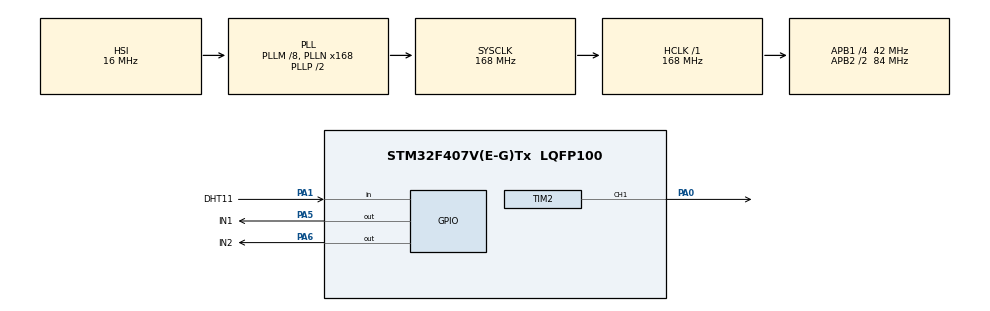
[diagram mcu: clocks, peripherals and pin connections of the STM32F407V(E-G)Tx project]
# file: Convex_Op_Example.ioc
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Mcu.Family=STM32F4
Mcu.Name=STM32F407V(E-G)Tx
Mcu.Package=LQFP100
NVIC.PriorityGroup=NVIC_PRIORITYGROUP_4
PA0-WKUP.Signal=S_TIM2_CH1_ETR
PA1.GPIO_Label=DHT11
PA1.Signal=GPIO_Input
PA5.GPIO_Label=IN1
PA5.Signal=GPIO_Output
PA6.GPIO_Label=IN2
PA6.Signal=GPIO_Output
PH0-OSC_IN.Mode=HSE-External-Oscillator
PH0-OSC_IN.Signal=RCC_OSC_IN
PH1-OSC_OUT.Mode=HSE-External-Oscillator
PH1-OSC_OUT.Signal=RCC_OSC_OUT
ProjectManager.HeapSize=0x200
ProjectManager.StackSize=0x400
ProjectManager.TargetToolchain=STM32CubeIDE
RCC.48MHZClocksFreq_Value=84000000
RCC.AHBFreq_Value=168000000
RCC.APB1CLKDivider=RCC_HCLK_DIV4
RCC.APB1Freq_Value=42000000
RCC.APB1TimFreq_Value=84000000
RCC.APB2CLKDivider=RCC_HCLK_DIV2
RCC.APB2Freq_Value=84000000
RCC.APB2TimFreq_Value=168000000
RCC.CortexFreq_Value=168000000
RCC.HCLKFreq_Value=168000000
RCC.HSE_VALUE=25000000
RCC.HSI_VALUE=16000000
RCC.LSE_VALUE=32768
RCC.PLLM=8
RCC.PLLN=168
RCC.SYSCLKFreq_VALUE=168000000
RCC.SYSCLKSource=RCC_SYSCLKSOURCE_PLLCLK
RCC.VCOOutputFreq_Value=336000000
SH.S_TIM2_CH1_ETR.0=TIM2_CH1,PWM Generation1 CH1
TIM2.AutoReloadPreload=TIM_AUTORELOAD_PRELOAD_ENABLE
TIM2.Channel-PWM\ Generation1\ CH1=TIM_CHANNEL_1
TIM2.Period=100
TIM2.Prescaler=165
TIM6.Prescaler=83
VP_TIM2_VS_ClockSourceINT.Mode=Internal
VP_TIM6_VS_ClockSourceINT.Mode=Enable_Timer
board=custom

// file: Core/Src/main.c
/* USER CODE BEGIN Header */
/**
 ******************************************************************************
 * @file           : main.c
 * @brief          : Main program body
 ******************************************************************************
 * @attention
 *
 * Copyright (c) 2025 STMicroelectronics.
 * All rights reserved.
 *
 * This software is licensed under terms that can be found in the LICENSE file
 * in the root directory of this software component.
 * If no LICENSE file comes with this software, it is provided AS-IS.
 *
 ******************************************************************************
 */
/* USER CODE END Header */
#include "main.h"

/* USER CODE BEGIN Includes */
#include "dht11.h"
#include "motor_driver.h"
#include "cpg_workspace.h"
#include "cpg_solve.h"
/* USER CODE END Includes */

/* USER CODE BEGIN PTD */
typedef struct {

	uint32_t Speed;
	uint16_t Temp;
	uint8_t  Motor_Status;

} info_t;
/* USER CODE END PTD */

/* USER CODE BEGIN PD */
#define K_GAIN_VALUE        -0.5f
#define LAMBDA_COST_VALUE   0.1f
#define TARGET_TEMP         20.0f
#define U_MAX_POWER         10.0f
/* USER CODE END PD */

/* USER CODE BEGIN PM */
#define MOTOR_OFF 			0
#define MOTOR_ON 			1
/* USER CODE END PM */

TIM_HandleTypeDef htim2;
TIM_HandleTypeDef htim6;

/* USER CODE BEGIN PV */

DHT11_t DHT11;
info_t info;

/* USER CODE END PV */

void SystemClock_Config(void);
static void MX_GPIO_Init(void);
static void MX_TIM6_Init(void);
static void MX_TIM2_Init(void);
/* USER CODE BEGIN PFP */
void Run_Optimal_Cooling_Controller();
/* USER CODE END PFP */

int main(void) {

	/* MCU Configuration--------------------------------------------------------*/

	/* Reset of all peripherals, Initializes the Flash interface and the Systick. */
	HAL_Init();

	/* Configure the system clock */
	SystemClock_Config();

	/* Initialize all configured peripherals */
	MX_GPIO_Init();
	MX_TIM6_Init();
	MX_TIM2_Init();
	/* USER CODE BEGIN 2 */
	HAL_TIM_Base_Start(&htim6);
	cpg_update_lambda_cost(LAMBDA_COST_VALUE);
	cpg_update_k_gain(K_GAIN_VALUE);
	cpg_update_x_ref(TARGET_TEMP);
	/* USER CODE END 2 */

	/* Infinite loop */
	/* USER CODE BEGIN WHILE */
	while (1) {

	  Run_Optimal_Cooling_Controller();
	  HAL_Delay(5000);

		/* USER CODE END WHILE */

	}
}

void SystemClock_Config(void) {
	RCC_OscInitTypeDef RCC_OscInitStruct = { 0 };
	RCC_ClkInitTypeDef RCC_ClkInitStruct = { 0 };

	/** Configure the main internal regulator output voltage
	 */
	__HAL_RCC_PWR_CLK_ENABLE();
	__HAL_PWR_VOLTAGESCALING_CONFIG(PWR_REGULATOR_VOLTAGE_SCALE1);

	/** Initializes the RCC Oscillators according to the specified parameters
	 * in the RCC_OscInitTypeDef structure.
	 */
	RCC_OscInitStruct.OscillatorType = RCC_OSCILLATORTYPE_HSI;
	RCC_OscInitStruct.HSIState = RCC_HSI_ON;
	RCC_OscInitStruct.HSICalibrationValue = RCC_HSICALIBRATION_DEFAULT;
	RCC_OscInitStruct.PLL.PLLState = RCC_PLL_ON;
	RCC_OscInitStruct.PLL.PLLSource = RCC_PLLSOURCE_HSI;
	RCC_OscInitStruct.PLL.PLLM = 8;
	RCC_OscInitStruct.PLL.PLLN = 168;
	RCC_OscInitStruct.PLL.PLLP = RCC_PLLP_DIV2;
	RCC_OscInitStruct.PLL.PLLQ = 4;
	if (HAL_RCC_OscConfig(&RCC_OscInitStruct) != HAL_OK) {
		Error_Handler();
	}

	/** Initializes the CPU, AHB and APB buses clocks
	 */
	RCC_ClkInitStruct.ClockType = RCC_CLOCKTYPE_HCLK | RCC_CLOCKTYPE_SYSCLK
			| RCC_CLOCKTYPE_PCLK1 | RCC_CLOCKTYPE_PCLK2;
	RCC_ClkInitStruct.SYSCLKSource = RCC_SYSCLKSOURCE_PLLCLK;
	RCC_ClkInitStruct.AHBCLKDivider = RCC_SYSCLK_DIV1;
	RCC_ClkInitStruct.APB1CLKDivider = RCC_HCLK_DIV4;
	RCC_ClkInitStruct.APB2CLKDivider = RCC_HCLK_DIV2;

	if (HAL_RCC_ClockConfig(&RCC_ClkInitStruct, FLASH_LATENCY_5) != HAL_OK) {
		Error_Handler();
	}
}

static void MX_TIM2_Init(void) {

	TIM_ClockConfigTypeDef sClockSourceConfig = { 0 };
	TIM_MasterConfigTypeDef sMasterConfig = { 0 };
	TIM_OC_InitTypeDef sConfigOC = { 0 };

	htim2.Instance = TIM2;
	htim2.Init.Prescaler = 165;
	htim2.Init.CounterMode = TIM_COUNTERMODE_UP;
	htim2.Init.Period = 100;
	htim2.Init.ClockDivision = TIM_CLOCKDIVISION_DIV1;
	htim2.Init.AutoReloadPreload = TIM_AUTORELOAD_PRELOAD_ENABLE;
	if (HAL_TIM_Base_Init(&htim2) != HAL_OK) {
		Error_Handler();
	}
	sClockSourceConfig.ClockSource = TIM_CLOCKSOURCE_INTERNAL;
	if (HAL_TIM_ConfigClockSource(&htim2, &sClockSourceConfig) != HAL_OK) {
		Error_Handler();
	}
	if (HAL_TIM_PWM_Init(&htim2) != HAL_OK) {
		Error_Handler();
	}
	sMasterConfig.MasterOutputTrigger = TIM_TRGO_RESET;
	sMasterConfig.MasterSlaveMode = TIM_MASTERSLAVEMODE_DISABLE;
	if (HAL_TIMEx_MasterConfigSynchronization(&htim2, &sMasterConfig)
			!= HAL_OK) {
		Error_Handler();
	}
	sConfigOC.OCMode = TIM_OCMODE_PWM1;
	sConfigOC.Pulse = 0;
	sConfigOC.OCPolarity = TIM_OCPOLARITY_HIGH;
	sConfigOC.OCFastMode = TIM_OCFAST_DISABLE;
	if (HAL_TIM_PWM_ConfigChannel(&htim2, &sConfigOC, TIM_CHANNEL_1)
			!= HAL_OK) {
		Error_Handler();
	}
	HAL_TIM_MspPostInit(&htim2);

}

static void MX_TIM6_Init(void) {

	TIM_MasterConfigTypeDef sMasterConfig = { 0 };

	htim6.Instance = TIM6;
	htim6.Init.Prescaler = 83;
	htim6.Init.CounterMode = TIM_COUNTERMODE_UP;
	htim6.Init.Period = 65535;
	htim6.Init.AutoReloadPreload = TIM_AUTORELOAD_PRELOAD_DISABLE;
	if (HAL_TIM_Base_Init(&htim6) != HAL_OK) {
		Error_Handler();
	}
	sMasterConfig.MasterOutputTrigger = TIM_TRGO_RESET;
	sMasterConfig.MasterSlaveMode = TIM_MASTERSLAVEMODE_DISABLE;
	if (HAL_TIMEx_MasterConfigSynchronization(&htim6, &sMasterConfig)
			!= HAL_OK) {
		Error_Handler();
	}

}

static void MX_GPIO_Init(void) {
	GPIO_InitTypeDef GPIO_InitStruct = { 0 };

	/* GPIO Ports Clock Enable */
	__HAL_RCC_GPIOH_CLK_ENABLE();
	__HAL_RCC_GPIOA_CLK_ENABLE();

	/*Configure GPIO pin Output Level */
	HAL_GPIO_WritePin(GPIOA, IN1_Pin | IN2_Pin, GPIO_PIN_RESET);

	/*Configure GPIO pin : DHT11_Pin */
	GPIO_InitStruct.Pin = DHT11_Pin;
	GPIO_InitStruct.Mode = GPIO_MODE_INPUT;
	GPIO_InitStruct.Pull = GPIO_NOPULL;
	HAL_GPIO_Init(DHT11_GPIO_Port, &GPIO_InitStruct);

	/*Configure GPIO pins : IN1_Pin IN2_Pin */
	GPIO_InitStruct.Pin = IN1_Pin | IN2_Pin;
	GPIO_InitStruct.Mode = GPIO_MODE_OUTPUT_PP;
	GPIO_InitStruct.Pull = GPIO_NOPULL;
	GPIO_InitStruct.Speed = GPIO_SPEED_FREQ_LOW;
	HAL_GPIO_Init(GPIOA, &GPIO_InitStruct);

}

/* USER CODE BEGIN 4 */
void Run_Optimal_Cooling_Controller() {

	Measure_DHT11(&DHT11);
	if (DHT11.Measurement == DHT11_FAILD)
		return;
	if(info.Temp == DHT11.Temperature) return;
	info.Temp = DHT11.Temperature;
	cpg_update_x_curr(info.Temp);
	cpg_solve();
	uint32_t ccr_value = (uint32_t)((CPG_Result.prim->u * (100.0f / 10.0f)) + 0.5f);

	if(ccr_value > 1){

		switch (info.Motor_Status) {
			case MOTOR_ON:
				if(ccr_value != info.Speed) Update_Motor_Speed(ccr_value);
				break;
			case MOTOR_OFF:
				Start_Motor(ccr_value, MOTOR_RIGHT);
				info.Motor_Status = MOTOR_ON;
				break;
			default:
				break;
		}

	}else if(ccr_value < 1){
		switch (info.Motor_Status) {
			case MOTOR_ON:
				Update_Motor_Speed(MOTOR_OFF);
				Stop_Motor();
				info.Motor_Status = MOTOR_OFF;
				break;
			default:
				break;
		}
	}
	info.Speed = ccr_value;
}

/* USER CODE END 4 */

void Error_Handler(void) {
	__disable_irq();
	while (1) {
	}
}
